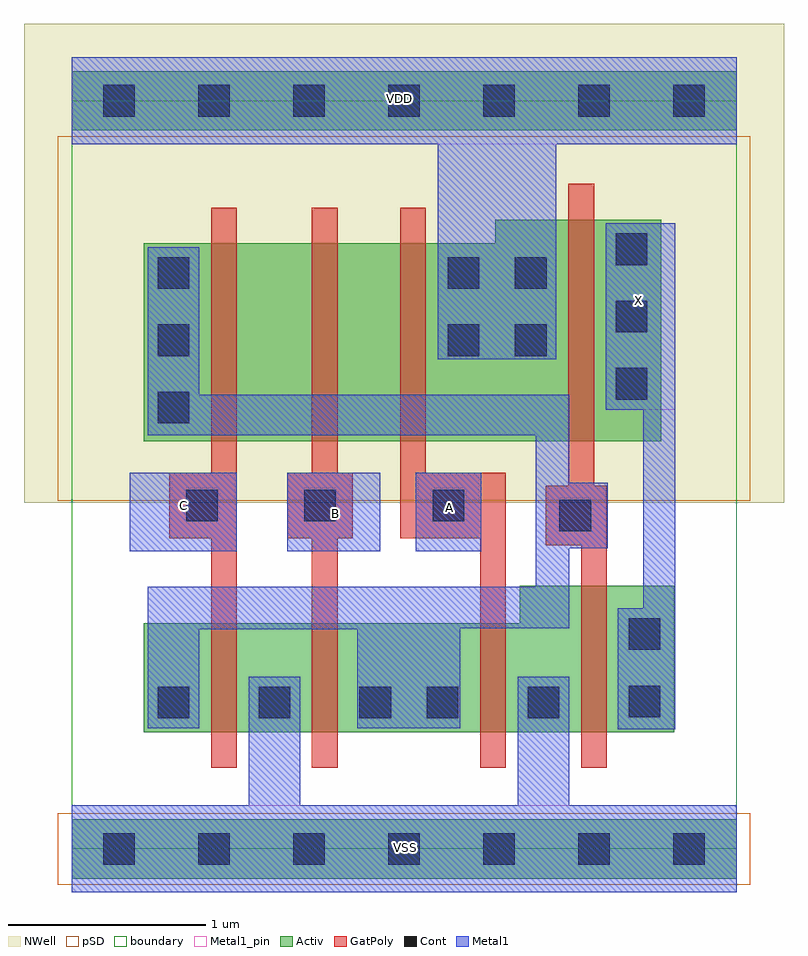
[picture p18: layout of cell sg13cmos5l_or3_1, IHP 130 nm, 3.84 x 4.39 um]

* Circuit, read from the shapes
.subckt sg13cmos5l_or3_1 A B C VDD VSS X
XM1 VSS C n1 VSS sg13_lv_nmos w=0.55u l=0.13u
XM2 n1 B VSS VSS sg13_lv_nmos w=0.55u l=0.13u
XM3 VSS A n1 VSS sg13_lv_nmos w=0.55u l=0.13u
XM4 X n1 VSS VSS sg13_lv_nmos w=0.74u l=0.13u
XM5 n2 C n1 VDD sg13_lv_pmos w=1u l=0.13u
XM6 n3 B n2 VDD sg13_lv_pmos w=1u l=0.13u
XM7 VDD A n3 VDD sg13_lv_pmos w=1u l=0.13u
XM8 X n1 VDD VDD sg13_lv_pmos w=1.12u l=0.13u
.ends

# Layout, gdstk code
import gdstk
lib = gdstk.Library(unit=1e-6, precision=1e-09)
def R(c, l, rs):  # rectangles x0, y0, x1, y1
    for r in rs: c.add(gdstk.rectangle(r[:2], r[2:], *l))
def A(c, l, x, y, w, h, nx, ny, dx, dy):  # array of equal rectangles
    R(c, l, [(x+i*dx, y+j*dy, x+i*dx+w, y+j*dy+h) for i in range(nx) for j in range(ny)])
def P(c, l, *ps):  # polygons
    for p in ps: c.add(gdstk.Polygon(p, *l))
Activ = (1, 0)
GatPoly = (5, 0)
Cont = (6, 0)
Metal1 = (8, 0)
Metal1_pin = (8, 2)
pSD = (14, 0)
NWell = (31, 0)
boundary = (189, 4)

sg13cmos5l_or3_1 = lib.new_cell('sg13cmos5l_or3_1')
R(sg13cmos5l_or3_1, Activ, [(0,-0.15,3.36,0.15), (0,3.63,3.36,3.93)])
P(sg13cmos5l_or3_1, Activ, [(0.365,2.06),(0.365,3.06),(2.14,3.06),(2.14,3.18),(2.98,3.18),(2.98,2.06)],
  [(0.365,0.59),(0.365,1.14),(2.265,1.14),(2.265,1.33),(3.045,1.33),(3.045,0.59)])
P(sg13cmos5l_or3_1, GatPoly, [(1.215,0.41),(1.215,1.57),(1.09,1.57),(1.09,1.9),(1.215,1.9),(1.215,3.24),(1.345,3.24),(1.345,1.9),(1.42,1.9),(1.42,1.57),(1.345,1.57),(1.345,0.41)],
  [(0.705,0.41),(0.705,1.57),(0.495,1.57),(0.495,1.9),(0.705,1.9),(0.705,3.24),(0.835,3.24),(0.835,0.41)],
  [(2.065,0.41),(2.065,1.57),(1.66,1.57),(1.66,3.24),(1.79,3.24),(1.79,1.9),(2.195,1.9),(2.195,0.41)],
  [(2.575,0.41),(2.575,1.535),(2.395,1.535),(2.395,1.835),(2.51,1.835),(2.51,3.36),(2.64,3.36),(2.64,1.835),(2.705,1.835),(2.705,0.41)])
A(sg13cmos5l_or3_1, Cont, 0.435, 0.66, 0.16, 0.16, 3, 1, 0.51, 0)
A(sg13cmos5l_or3_1, Cont, 0.435, 2.15, 0.16, 0.16, 1, 3, 0, 0.34)
A(sg13cmos5l_or3_1, Cont, 2.75, 2.27, 0.16, 0.16, 1, 3, 0, 0.34)
R(sg13cmos5l_or3_1, Cont, [(0.16,-0.08,0.32,0.08), (0.16,-0.08,0.32,0.08), (0.64,-0.08,0.8,0.08), (0.64,-0.08,0.8,0.08), (1.12,-0.08,1.28,0.08), (1.12,-0.08,1.28,0.08), (1.6,-0.08,1.76,0.08), (1.6,-0.08,1.76,0.08), (2.08,-0.08,2.24,0.08), (2.08,-0.08,2.24,0.08), (2.56,-0.08,2.72,0.08), (2.56,-0.08,2.72,0.08), (3.04,-0.08,3.2,0.08), (3.04,-0.08,3.2,0.08), (1.795,0.66,1.955,0.82), (2.305,0.66,2.465,0.82), (2.815,0.665,2.975,0.825), (2.815,1.005,2.975,1.165), (2.465,1.605,2.625,1.765), (0.58,1.655,0.74,1.815), (1.175,1.655,1.335,1.815), (1.825,1.655,1.985,1.815), (1.9,2.49,2.06,2.65), (2.24,2.49,2.4,2.65), (1.9,2.83,2.06,2.99), (2.24,2.83,2.4,2.99), (0.16,3.7,0.32,3.86), (0.16,3.7,0.32,3.86), (0.64,3.7,0.8,3.86), (0.64,3.7,0.8,3.86), (1.12,3.7,1.28,3.86), (1.12,3.7,1.28,3.86), (1.6,3.7,1.76,3.86), (1.6,3.7,1.76,3.86), (2.08,3.7,2.24,3.86), (2.08,3.7,2.24,3.86), (2.56,3.7,2.72,3.86), (2.56,3.7,2.72,3.86), (3.04,3.7,3.2,3.86), (3.04,3.7,3.2,3.86)])
R(sg13cmos5l_or3_1, Metal1, [(0.295,1.505,0.835,1.9), (1.09,1.505,1.56,1.9), (1.74,1.505,2.07,1.9)])
P(sg13cmos5l_or3_1, Metal1, [(2.76,0.605),(2.76,1.215),(2.89,1.215),(2.89,2.22),(2.7,2.22),(2.7,3.16),(3.05,3.16),(3.05,0.605)],
  [(0.385,0.61),(0.385,1.325),(2.345,1.325),(2.345,2.09),(0.385,2.09),(0.385,3.04),(0.645,3.04),(0.645,2.295),(2.515,2.295),(2.515,1.85),(2.71,1.85),(2.71,1.52),(2.515,1.52),(2.515,1.115),(1.965,1.115),(1.965,0.61),(1.445,0.61),(1.445,1.11),(0.645,1.11),(0.645,0.61)],
  [(1.85,2.475),(1.85,3.56),(0,3.56),(0,4),(3.36,4),(3.36,3.56),(2.45,3.56),(2.45,2.475)],
  [(0,-0.22),(0,0.22),(0.895,0.22),(0.895,0.87),(1.155,0.87),(1.155,0.22),(2.255,0.22),(2.255,0.87),(2.515,0.87),(2.515,0.22),(3.36,0.22),(3.36,-0.22)])
R(sg13cmos5l_or3_1, Metal1_pin, [(0,-0.22,3.36,0.22), (0.295,1.505,0.835,1.9), (1.09,1.505,1.56,1.9), (1.74,1.505,2.07,1.9), (2.7,2.22,3.05,3.16), (0,3.56,3.36,4)])
R(sg13cmos5l_or3_1, pSD, [(-0.07,-0.18,3.43,0.18), (-0.07,1.76,3.43,3.6)])
R(sg13cmos5l_or3_1, NWell, [(-0.24,1.75,3.6,4.17)])
R(sg13cmos5l_or3_1, boundary, [(0,0,3.36,3.78)])
sg13cmos5l_or3_1.add(gdstk.Label('VDD', (1.655,3.79), layer=8, texttype=25))
sg13cmos5l_or3_1.add(gdstk.Label('VSS', (1.69,0.005), layer=8, texttype=25))
sg13cmos5l_or3_1.add(gdstk.Label('C', (0.565,1.735), layer=8, texttype=25))
sg13cmos5l_or3_1.add(gdstk.Label('B', (1.335,1.695), layer=8, texttype=25))
sg13cmos5l_or3_1.add(gdstk.Label('A', (1.91,1.725), layer=8, texttype=25))
sg13cmos5l_or3_1.add(gdstk.Label('X', (2.865,2.77), layer=8, texttype=25))

lib.write_gds('sg13cmos5l_or3_1.gds')
